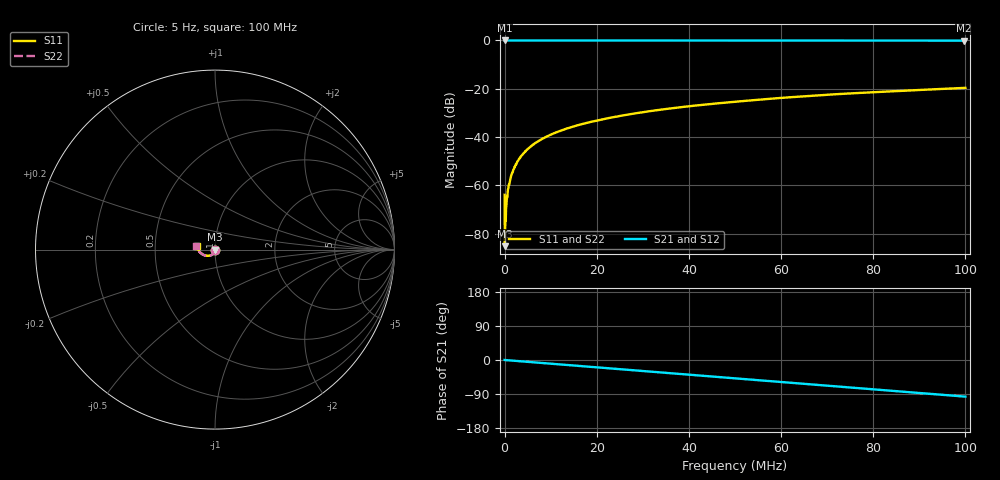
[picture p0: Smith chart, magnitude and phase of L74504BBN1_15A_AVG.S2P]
!Agilent Technologies,E5061B,MY49102235,A.02.00
!Date: Mon Jul 10 16:27:12 2023
!Data & Calibration Information:
!Freq	S11:SOLT2(ON)	S21:SOLT2(ON)	S12:SOLT2(ON)	S22:SOLT2(ON)
# Hz S RI R 50
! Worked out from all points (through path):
!   1600 points, 5 Hz to 100 MHz, reference 50 ohm
!   highest |S21| = 0.02 dB at 5 Hz (marker M1); lowest = -0.1 dB at 99.62 MHz (marker M2)
!   group delay of S21, straight-line fit = 2.69 ns
!   lowest |S11| = -85.2 dB at 62.54 kHz (marker M3), VSWR 1.00, Z = 50 - j0.00281 ohm
!   |S11| at or under -10 dB: start of sweep to end of sweep
!   |S22| runs from -78.8 to -19.6 dB; largest |S21 - S12| = 0.0026
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5  -0.000452 0.000447  1.002 0.00231  1.001 -2.04e-05  -9.78e-05 -6.37e-05
62544.08  -4.7e-05 -2.81e-05  1 -0.000815  1 -0.000678  1.2e-05 -0.000115
250161.3  3.96e-05 -0.000175  0.9998 -0.00448  0.9999 -0.00431  2.38e-05 -0.0002
562856.8  0.000126 -0.000538  0.9997 -0.00964  0.9997 -0.00923  5.31e-05 -0.000585
687934.9  -1.1e-05 -0.000769  1 -0.0114  1 -0.0116  -1.58e-05 -0.000705
813013.1  -6.5e-05 -0.000867  1 -0.014  0.9991 -0.0134  -8.3e-05 -0.000926
1063169  -6.43e-05 -0.0011  1 -0.0178  1 -0.0182  -4.39e-05 -0.0012
1250787  -8.38e-05 -0.00135  0.9998 -0.0214  0.9992 -0.0208  -5.03e-05 -0.00134
1688560  -3.59e-05 -0.00185  1 -0.0288  0.9996 -0.0284  -7.06e-05 -0.00187
2313951  -0.000109 -0.00256  0.9991 -0.0395  0.999 -0.0385  -6.21e-05 -0.00261
3689811  -0.000242 -0.00413  0.9981 -0.0624  0.9979 -0.0622  -0.000314 -0.00414
5753601  -0.000544 -0.00645  0.9952 -0.0973  0.9951 -0.0969  -0.000613 -0.00637
8692938  -0.00134 -0.00962  0.989 -0.1464  0.9891 -0.146  -0.00148 -0.00947
1.250782e7  -0.00283 -0.0136  0.9775 -0.2098  0.9775 -0.2097  -0.00283 -0.0134
1.669794e7  -0.00511 -0.0177  0.9603 -0.2782  0.9603 -0.2782  -0.005 -0.0176
2.445279e7  -0.0109 -0.0243  0.9157 -0.4013  0.9154 -0.4013  -0.0108 -0.0245
3.333334e7  -0.0199 -0.0303  0.845 -0.5334  0.8451 -0.5332  -0.0196 -0.0308
5.003127e7  -0.0412 -0.0346  0.6627 -0.747  0.6626 -0.747  -0.0413 -0.0352
6.672921e7  -0.0661 -0.0281  0.4284 -0.9007  0.4282 -0.9004  -0.0659 -0.0289
8.33646e7  -0.0872 -0.00972  0.1613 -0.9827  0.1612 -0.9824  -0.0874 -0.0108
9.962477e7  -0.1023 0.0191  -0.1099 -0.9881  -0.1101 -0.9879  -0.103 0.0172
1e8  -0.1025 0.0198  -0.1162 -0.9876  -0.1163 -0.9871  -0.1033 0.0179
